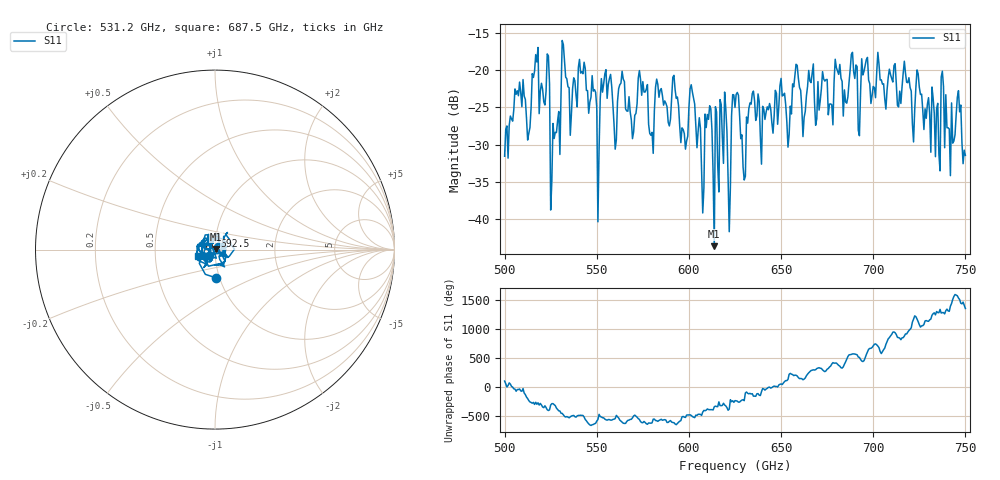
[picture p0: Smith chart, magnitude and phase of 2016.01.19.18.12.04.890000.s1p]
!Created with skrf (http://scikit-rf.org).
# GHz S RI R 50.0
!freq ReS11 ImS11
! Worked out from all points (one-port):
!   401 points, 500 GHz to 750 GHz, reference 50 ohm
!   lowest |S11| = -43.6 dB at 613.8 GHz (marker M1), VSWR 1.01, Z = 50.6 + j0.287 ohm
!   |S11| at or under -10 dB: start of sweep to end of sweep
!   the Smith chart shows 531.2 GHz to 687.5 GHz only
!   S11 on the Smith chart (normalised r, x): 531.2 GHz: 0.96, -0.31; 592.5 GHz: 0.99, +0.15; 687.5 GHz: 0.82, -0.06
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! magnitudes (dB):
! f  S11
! 500 GHz  -31.6
! 506.9 GHz  -22.8
! 513.1 GHz  -28.5
! 516.9 GHz  -17.9
! 523.1 GHz  -17.8
! 526.2 GHz  -27.2
! 531.2 GHz  -16.0
! 541.9 GHz  -20.2
! 550.6 GHz  -40.4
! 553.8 GHz  -21.9
! 560 GHz  -30.6
! 562.5 GHz  -22.0
! 576.2 GHz  -23.0
! 579.4 GHz  -28.8
! 592.5 GHz  -22.6
! 593.8 GHz  -23.6
! 613.8 GHz  -43.6
! 618.1 GHz  -29.0
! 621.9 GHz  -41.7
! 625 GHz  -25.0
! 629.4 GHz  -33.0
! 634.4 GHz  -23.1
! 656.2 GHz  -21.9
! 687.5 GHz  -19.9
! 718.8 GHz  -21.7
! 735 GHz  -24.5
! 746.2 GHz  -22.8
! 750 GHz  -31.5
